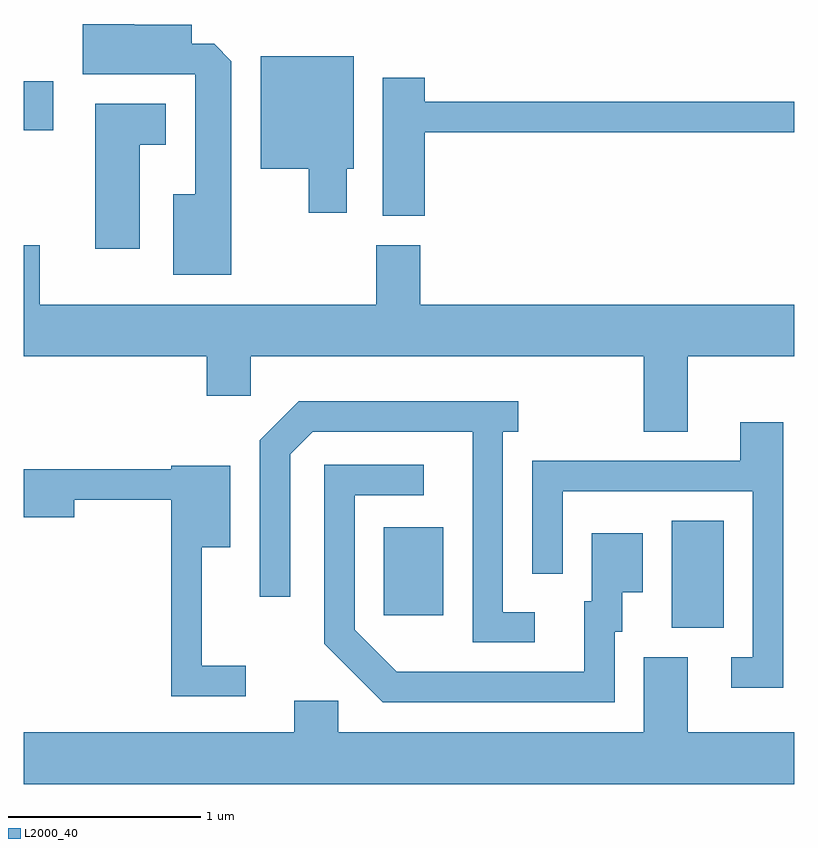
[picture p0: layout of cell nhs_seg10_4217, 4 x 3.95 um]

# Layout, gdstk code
import gdstk
lib = gdstk.Library(unit=1e-6, precision=1e-09)
def R(c, l, rs):  # rectangles x0, y0, x1, y1
    for r in rs: c.add(gdstk.rectangle(r[:2], r[2:], *l))
def P(c, l, *ps):  # polygons
    for p in ps: c.add(gdstk.Polygon(p, *l))
L2000_40 = (2000, 40)

nhs_seg10_4217 = lib.new_cell('nhs_seg10_4217')
R(nhs_seg10_4217, L2000_40, [(312.976,2121.386,313.244,2121.944), (311.481,2121.451,311.789,2121.909), (309.611,2123.971,309.764,2124.224)])
P(nhs_seg10_4217, L2000_40, [(310.689,2124.329),(310.599,2124.419),(310.484,2124.419),(310.484,2124.519),(310.184,2124.519),(310.184,2124.522),(309.916,2124.522),(309.916,2124.261),(310.501,2124.261),(310.501,2123.639),(310.386,2123.639),(310.386,2123.221),(310.689,2123.221)],
  [(311.289,2123.771),(311.324,2123.771),(311.324,2124.354),(310.841,2124.354),(310.841,2123.771),(311.091,2123.771),(311.091,2123.541),(311.289,2123.541)],
  [(311.694,2123.961),(313.611,2123.961),(313.611,2124.119),(311.694,2124.119),(311.694,2124.244),(311.476,2124.244),(311.476,2123.526),(311.694,2123.526)],
  [(310.214,2123.896),(310.349,2123.896),(310.349,2124.109),(309.981,2124.109),(309.981,2123.356),(310.214,2123.356)],
  [(313.059,2122.796),(313.611,2122.796),(313.611,2123.064),(311.669,2123.064),(311.669,2123.374),(311.441,2123.374),(311.441,2123.064),(309.694,2123.064),(309.694,2123.374),(309.611,2123.374),(309.611,2122.796),(310.561,2122.796),(310.561,2122.591),(310.789,2122.591),(310.789,2122.796),(312.831,2122.796),(312.831,2122.406),(313.059,2122.406)],
  [(312.263,2121.469),(312.099,2121.469),(312.099,2122.406),(312.178,2122.406),(312.178,2122.564),(311.039,2122.564),(310.836,2122.362),(310.836,2121.548),(310.994,2121.548),(310.994,2122.289),(311.112,2122.406),(311.941,2122.406),(311.941,2121.311),(312.263,2121.311)],
  [(313.554,2122.454),(313.331,2122.454),(313.331,2122.254),(312.251,2122.254),(312.251,2121.668),(312.409,2121.668),(312.409,2122.096),(313.396,2122.096),(313.396,2121.234),(313.283,2121.234),(313.283,2121.076),(313.554,2121.076)],
  [(312.679,2121.366),(312.719,2121.366),(312.719,2121.571),(312.824,2121.571),(312.824,2121.879),(312.561,2121.879),(312.561,2121.524),(312.521,2121.524),(312.521,2121.159),(311.547,2121.159),(311.329,2121.377),(311.329,2122.076),(311.688,2122.076),(311.688,2122.234),(311.171,2122.234),(311.171,2121.304),(311.474,2121.001),(312.679,2121.001)],
  [(310.763,2121.189),(310.534,2121.189),(310.534,2121.806),(310.684,2121.806),(310.684,2122.229),(310.376,2122.229),(310.376,2122.209),(309.611,2122.209),(309.611,2121.961),(309.874,2121.961),(309.874,2122.051),(310.376,2122.051),(310.376,2121.031),(310.763,2121.031)],
  [(313.611,2120.844),(313.059,2120.844),(313.059,2121.234),(312.831,2121.234),(312.831,2120.844),(311.244,2120.844),(311.244,2121.009),(311.016,2121.009),(311.016,2120.844),(309.611,2120.844),(309.611,2120.576),(313.611,2120.576)])

lib.write_gds('nhs_seg10_4217.gds')
